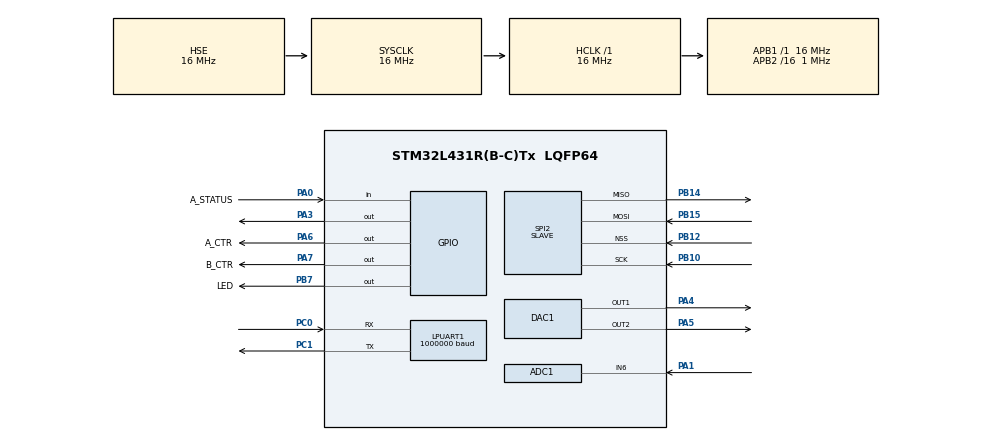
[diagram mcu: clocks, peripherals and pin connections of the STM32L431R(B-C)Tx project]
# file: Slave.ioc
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ADC1.Channel-3\#ChannelRegularConversion=ADC_CHANNEL_6
ADC1.NbrOfConversionFlag=1
ADC1.OffsetNumber-3\#ChannelRegularConversion=ADC_OFFSET_NONE
ADC1.Rank-3\#ChannelRegularConversion=1
ADC1.Resolution=ADC_RESOLUTION_12B
ADC1.SamplingTime-3\#ChannelRegularConversion=ADC_SAMPLETIME_2CYCLES_5
ADC1.master=1
DAC1.DAC_Channel-DAC_OUT2=DAC_CHANNEL_2
LPUART1.BaudRate=1000000
LPUART1.WordLength=UART_WORDLENGTH_8B
Mcu.Family=STM32L4
Mcu.Name=STM32L431R(B-C)Tx
Mcu.Package=LQFP64
NVIC.PriorityGroup=NVIC_PRIORITYGROUP_4
NVIC.TIM1_UP_TIM16_IRQn=true\:0\:0\:false\:false\:true\:true\:true
PA0.GPIO_Label=A_STATUS
PA0.Signal=GPIO_Input
PA1.Signal=ADCx_IN6
PA13\ (JTMS-SWDIO).Mode=Serial_Wire
PA13\ (JTMS-SWDIO).Signal=SYS_JTMS-SWDIO
PA14\ (JTCK-SWCLK).Mode=Serial_Wire
PA14\ (JTCK-SWCLK).Signal=SYS_JTCK-SWCLK
PA3.Signal=GPIO_Output
PA4.Signal=COMP_DAC11_group
PA5.Signal=COMP_DAC12_group
PA6.GPIO_Label=A_CTR
PA6.Signal=GPIO_Output
PA7.GPIO_Label=B_CTR
PA7.Signal=GPIO_Output
PB10.Mode=Full_Duplex_Slave
PB10.Signal=SPI2_SCK
PB12.Mode=NSS_Signal_Hard_Input
PB12.Signal=SPI2_NSS
PB14.Mode=Full_Duplex_Slave
PB14.Signal=SPI2_MISO
PB15.Mode=Full_Duplex_Slave
PB15.Signal=SPI2_MOSI
PB7.GPIO_Label=LED
PB7.Signal=GPIO_Output
PC0.Mode=Asynchronous
PC0.Signal=LPUART1_RX
PC1.Mode=Asynchronous
PC1.Signal=LPUART1_TX
PC14-OSC32_IN\ (PC14).Mode=LSE-External-Oscillator
PC14-OSC32_IN\ (PC14).Signal=RCC_OSC32_IN
PC15-OSC32_OUT\ (PC15).Mode=LSE-External-Oscillator
PC15-OSC32_OUT\ (PC15).Signal=RCC_OSC32_OUT
PH0-OSC_IN\ (PH0).Mode=HSE-External-Oscillator
PH0-OSC_IN\ (PH0).Signal=RCC_OSC_IN
PH1-OSC_OUT\ (PH1).Mode=HSE-External-Oscillator
PH1-OSC_OUT\ (PH1).Signal=RCC_OSC_OUT
ProjectManager.HeapSize=0x200
ProjectManager.StackSize=0x400
ProjectManager.TargetToolchain=STM32CubeIDE
RCC.ADCCLockSelection=RCC_ADCCLKSOURCE_SYSCLK
RCC.ADCFreq_Value=16000000
RCC.AHBFreq_Value=16000000
RCC.APB1Freq_Value=16000000
RCC.APB1TimFreq_Value=16000000
RCC.APB2CLKDivider=RCC_HCLK_DIV16
RCC.APB2Freq_Value=1000000
RCC.APB2TimFreq_Value=2000000
RCC.CortexFreq_Value=16000000
RCC.FLatency-AdvancedSettings=FLASH_LATENCY_0
RCC.HCLKFreq_Value=16000000
RCC.HSE_VALUE=16000000
RCC.HSI48_VALUE=48000000
RCC.HSI_VALUE=16000000
RCC.LPUART1CLockSelection=RCC_LPUART1CLKSOURCE_SYSCLK
RCC.MSIAutoCalibration-AdvancedSettings=ENABLED
RCC.MSI_VALUE=4000000
RCC.PLLSourceVirtual=RCC_PLLSOURCE_HSE
RCC.SYSCLKFreq_VALUE=16000000
RCC.SYSCLKSource=RCC_SYSCLKSOURCE_HSE
RCC.VCOOutputFreq_Value=128000000
SH.ADCx_IN6.0=ADC1_IN6,IN6-Single-Ended
SH.COMP_DAC11_group.0=DAC1_OUT1,DAC_OUT1
SH.COMP_DAC12_group.0=DAC1_OUT2,DAC_OUT2
SPI2.CLKPhase=SPI_PHASE_2EDGE
SPI2.DataSize=SPI_DATASIZE_8BIT
SPI2.Direction=SPI_DIRECTION_2LINES
SPI2.FirstBit=SPI_FIRSTBIT_LSB
SPI2.Mode=SPI_MODE_SLAVE
SPI2.VirtualNSS=VM_NSSHARD
SPI2.VirtualType=VM_SLAVE
TIM16.Period=5000-1
TIM16.Prescaler=250-1
VP_TIM16_VS_ClockSourceINT.Mode=Enable_Timer
board=custom

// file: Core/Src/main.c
/* USER CODE BEGIN Header */
/**
  ******************************************************************************
  * @file           : main.c
  * @brief          : Slave SPI tester
  ******************************************************************************
  * @attention
  *
  * <h2><center>&copy; Copyright (c) 2022 STMicroelectronics.
  * All rights reserved.</center></h2>
  *
  * This software component is licensed by ST under BSD 3-Clause license,
  * the "License"; You may not use this file except in compliance with the
  * License. You may obtain a copy of the License at:
  *                        opensource.org/licenses/BSD-3-Clause
  *
  ******************************************************************************
  */
/* USER CODE END Header */
#include "main.h"

/* USER CODE BEGIN Includes */
#include <stdio.h>
#include <string.h>
/* USER CODE END Includes */

/* USER CODE BEGIN PD */
#define BUFFERSIZE 256
/* USER CODE END PD */

ADC_HandleTypeDef hadc1;

DAC_HandleTypeDef hdac1;

UART_HandleTypeDef hlpuart1;

SPI_HandleTypeDef hspi2;

TIM_HandleTypeDef htim16;

/* USER CODE BEGIN PV */
uint8_t aTxBuffer[BUFFERSIZE] = {1,2,3,4,5,6,7,8,9,10,1,2,3,4,5,6,7,8,9,10,1,2,3,4,5,6,7,8,9,10,1,2,3,4,5,6,7,8,9,10,11,12,13,14,15,16,17,18,19,20,21,22,23,24,25,26,27,28,29,30,31,32,33,34,35,36,37,38,39,40,41,42,43,44,45,46,47,48,49,50,51,52,53,54,55,56,57,58,59,60,61,62,63,64};
uint8_t aRxBuffer[BUFFERSIZE];
char sTxBuffer[BUFFERSIZE] = "123456791011121314151617181920";

/* USER CODE END PV */

void SystemClock_Config(void);
static void MX_GPIO_Init(void);
static void MX_ADC1_Init(void);
static void MX_DAC1_Init(void);
static void MX_TIM16_Init(void);
static void MX_LPUART1_UART_Init(void);
static void MX_SPI2_Init(void);

int main(void)
{

  /* MCU Configuration--------------------------------------------------------*/

  /* Reset of all peripherals, Initializes the Flash interface and the Systick. */
  HAL_Init();

  /* Configure the system clock */
  SystemClock_Config();

  /* Initialize all configured peripherals */
  MX_GPIO_Init();
  MX_ADC1_Init();
  MX_DAC1_Init();
  MX_TIM16_Init();
  MX_LPUART1_UART_Init();
  MX_SPI2_Init();
  /* USER CODE BEGIN 2 */
  HAL_GPIO_WritePin(GPIOB,GPIO_PIN_7,1);
  HAL_Delay(500);
  HAL_GPIO_WritePin(GPIOB,GPIO_PIN_7,0);
  HAL_Delay(500);
  HAL_GPIO_WritePin(GPIOB,GPIO_PIN_7,1);
  HAL_Delay(500);
  HAL_GPIO_WritePin(GPIOB,GPIO_PIN_7,0);
  HAL_Delay(500);

  int input = 41;
  int output= 40;
  char msg[50] = "__\r\n";

  HAL_UART_Transmit(&hlpuart1, (uint8_t*)msg, strlen(msg), HAL_MAX_DELAY);
  HAL_UART_Transmit(&hlpuart1, (uint8_t*)&output, sizeof(output), HAL_MAX_DELAY);
  HAL_UART_Transmit(&hlpuart1, (uint8_t*)msg, strlen(msg), HAL_MAX_DELAY);
  HAL_UART_Transmit(&hlpuart1, (uint8_t*)&input, sizeof(input), HAL_MAX_DELAY);
  HAL_UART_Transmit(&hlpuart1, (uint8_t*)msg, strlen(msg), HAL_MAX_DELAY);

  HAL_GPIO_WritePin(GPIOB,GPIO_PIN_7,1);
  HAL_Delay(500);
  HAL_GPIO_WritePin(GPIOB,GPIO_PIN_7,0);
  HAL_Delay(500);
  HAL_GPIO_WritePin(GPIOB,GPIO_PIN_7,1);
//  for (;;)
//  {
//	  HAL_SPI_TransmitReceive(&hspi2, (uint8_t *)&output, (uint8_t*)&input, sizeof(input), 3000 );
//	  output = input;
//	  HAL_UART_Transmit(&hlpuart1, (uint8_t*)&output, sizeof(output), HAL_MAX_DELAY);
//	  HAL_UART_Transmit(&hlpuart1, (uint8_t*)msg, strlen(msg), HAL_MAX_DELAY);
//	  HAL_UART_Transmit(&hlpuart1, (uint8_t*)&input, sizeof(input), HAL_MAX_DELAY);
//	  HAL_UART_Transmit(&hlpuart1, (uint8_t*)msg, strlen(msg), HAL_MAX_DELAY);
//	  HAL_GPIO_TogglePin(GPIOB,GPIO_PIN_7);
//
//  }
  /* USER CODE END 2 */

  /* Infinite loop */
  while (1)
  {
	  HAL_SPI_TransmitReceive(&hspi2, (uint8_t *)sTxBuffer, (uint8_t *)aRxBuffer , BUFFERSIZE, 5000);
	  HAL_UART_Transmit(&hlpuart1, (uint8_t*)&sTxBuffer, BUFFERSIZE, 1000);
	  HAL_GPIO_TogglePin(GPIOB,GPIO_PIN_7);
	  HAL_UART_Transmit(&hlpuart1, (uint8_t*)msg, strlen(msg), HAL_MAX_DELAY);
  }
}

void SystemClock_Config(void)
{
  RCC_OscInitTypeDef RCC_OscInitStruct = {0};
  RCC_ClkInitTypeDef RCC_ClkInitStruct = {0};

  /** Configure the main internal regulator output voltage
  */
  if (HAL_PWREx_ControlVoltageScaling(PWR_REGULATOR_VOLTAGE_SCALE1) != HAL_OK)
  {
    Error_Handler();
  }
  /** Initializes the RCC Oscillators according to the specified parameters
  * in the RCC_OscInitTypeDef structure.
  */
  RCC_OscInitStruct.OscillatorType = RCC_OSCILLATORTYPE_HSE;
  RCC_OscInitStruct.HSEState = RCC_HSE_ON;
  RCC_OscInitStruct.PLL.PLLState = RCC_PLL_NONE;
  if (HAL_RCC_OscConfig(&RCC_OscInitStruct) != HAL_OK)
  {
    Error_Handler();
  }
  /** Initializes the CPU, AHB and APB buses clocks
  */
  RCC_ClkInitStruct.ClockType = RCC_CLOCKTYPE_HCLK|RCC_CLOCKTYPE_SYSCLK
                              |RCC_CLOCKTYPE_PCLK1|RCC_CLOCKTYPE_PCLK2;
  RCC_ClkInitStruct.SYSCLKSource = RCC_SYSCLKSOURCE_HSE;
  RCC_ClkInitStruct.AHBCLKDivider = RCC_SYSCLK_DIV1;
  RCC_ClkInitStruct.APB1CLKDivider = RCC_HCLK_DIV1;
  RCC_ClkInitStruct.APB2CLKDivider = RCC_HCLK_DIV16;

  if (HAL_RCC_ClockConfig(&RCC_ClkInitStruct, FLASH_LATENCY_0) != HAL_OK)
  {
    Error_Handler();
  }
}

static void MX_ADC1_Init(void)
{

  ADC_ChannelConfTypeDef sConfig = {0};

  /** Common config
  */
  hadc1.Instance = ADC1;
  hadc1.Init.ClockPrescaler = ADC_CLOCK_ASYNC_DIV1;
  hadc1.Init.Resolution = ADC_RESOLUTION_12B;
  hadc1.Init.DataAlign = ADC_DATAALIGN_RIGHT;
  hadc1.Init.ScanConvMode = ADC_SCAN_DISABLE;
  hadc1.Init.EOCSelection = ADC_EOC_SINGLE_CONV;
  hadc1.Init.LowPowerAutoWait = DISABLE;
  hadc1.Init.ContinuousConvMode = DISABLE;
  hadc1.Init.NbrOfConversion = 1;
  hadc1.Init.DiscontinuousConvMode = DISABLE;
  hadc1.Init.ExternalTrigConv = ADC_SOFTWARE_START;
  hadc1.Init.ExternalTrigConvEdge = ADC_EXTERNALTRIGCONVEDGE_NONE;
  hadc1.Init.DMAContinuousRequests = DISABLE;
  hadc1.Init.Overrun = ADC_OVR_DATA_PRESERVED;
  hadc1.Init.OversamplingMode = DISABLE;
  if (HAL_ADC_Init(&hadc1) != HAL_OK)
  {
    Error_Handler();
  }
  /** Configure Regular Channel
  */
  sConfig.Channel = ADC_CHANNEL_6;
  sConfig.Rank = ADC_REGULAR_RANK_1;
  sConfig.SamplingTime = ADC_SAMPLETIME_2CYCLES_5;
  sConfig.SingleDiff = ADC_SINGLE_ENDED;
  sConfig.OffsetNumber = ADC_OFFSET_NONE;
  sConfig.Offset = 0;
  if (HAL_ADC_ConfigChannel(&hadc1, &sConfig) != HAL_OK)
  {
    Error_Handler();
  }

}

static void MX_DAC1_Init(void)
{

  DAC_ChannelConfTypeDef sConfig = {0};

  /** DAC Initialization
  */
  hdac1.Instance = DAC1;
  if (HAL_DAC_Init(&hdac1) != HAL_OK)
  {
    Error_Handler();
  }
  /** DAC channel OUT1 config
  */
  sConfig.DAC_SampleAndHold = DAC_SAMPLEANDHOLD_DISABLE;
  sConfig.DAC_Trigger = DAC_TRIGGER_NONE;
  sConfig.DAC_OutputBuffer = DAC_OUTPUTBUFFER_ENABLE;
  sConfig.DAC_ConnectOnChipPeripheral = DAC_CHIPCONNECT_DISABLE;
  sConfig.DAC_UserTrimming = DAC_TRIMMING_FACTORY;
  if (HAL_DAC_ConfigChannel(&hdac1, &sConfig, DAC_CHANNEL_1) != HAL_OK)
  {
    Error_Handler();
  }
  /** DAC channel OUT2 config
  */
  if (HAL_DAC_ConfigChannel(&hdac1, &sConfig, DAC_CHANNEL_2) != HAL_OK)
  {
    Error_Handler();
  }

}

static void MX_LPUART1_UART_Init(void)
{

  hlpuart1.Instance = LPUART1;
  hlpuart1.Init.BaudRate = 1000000;
  hlpuart1.Init.WordLength = UART_WORDLENGTH_8B;
  hlpuart1.Init.StopBits = UART_STOPBITS_1;
  hlpuart1.Init.Parity = UART_PARITY_NONE;
  hlpuart1.Init.Mode = UART_MODE_TX_RX;
  hlpuart1.Init.HwFlowCtl = UART_HWCONTROL_NONE;
  hlpuart1.Init.OneBitSampling = UART_ONE_BIT_SAMPLE_DISABLE;
  hlpuart1.AdvancedInit.AdvFeatureInit = UART_ADVFEATURE_NO_INIT;
  if (HAL_UART_Init(&hlpuart1) != HAL_OK)
  {
    Error_Handler();
  }

}

static void MX_SPI2_Init(void)
{

  /* SPI2 parameter configuration*/
  hspi2.Instance = SPI2;
  hspi2.Init.Mode = SPI_MODE_SLAVE;
  hspi2.Init.Direction = SPI_DIRECTION_2LINES;
  hspi2.Init.DataSize = SPI_DATASIZE_8BIT;
  hspi2.Init.CLKPolarity = SPI_POLARITY_LOW;
  hspi2.Init.CLKPhase = SPI_PHASE_2EDGE;
  hspi2.Init.NSS = SPI_NSS_HARD_INPUT;
  hspi2.Init.FirstBit = SPI_FIRSTBIT_LSB;
  hspi2.Init.TIMode = SPI_TIMODE_DISABLE;
  hspi2.Init.CRCCalculation = SPI_CRCCALCULATION_DISABLE;
  hspi2.Init.CRCPolynomial = 7;
  hspi2.Init.CRCLength = SPI_CRC_LENGTH_DATASIZE;
  hspi2.Init.NSSPMode = SPI_NSS_PULSE_DISABLE;
  if (HAL_SPI_Init(&hspi2) != HAL_OK)
  {
    Error_Handler();
  }

}

static void MX_TIM16_Init(void)
{

  htim16.Instance = TIM16;
  htim16.Init.Prescaler = 250-1;
  htim16.Init.CounterMode = TIM_COUNTERMODE_UP;
  htim16.Init.Period = 5000-1;
  htim16.Init.ClockDivision = TIM_CLOCKDIVISION_DIV1;
  htim16.Init.RepetitionCounter = 0;
  htim16.Init.AutoReloadPreload = TIM_AUTORELOAD_PRELOAD_DISABLE;
  if (HAL_TIM_Base_Init(&htim16) != HAL_OK)
  {
    Error_Handler();
  }

}

static void MX_GPIO_Init(void)
{
  GPIO_InitTypeDef GPIO_InitStruct = {0};

  /* GPIO Ports Clock Enable */
  __HAL_RCC_GPIOC_CLK_ENABLE();
  __HAL_RCC_GPIOH_CLK_ENABLE();
  __HAL_RCC_GPIOA_CLK_ENABLE();
  __HAL_RCC_GPIOB_CLK_ENABLE();

  /*Configure GPIO pin Output Level */
  HAL_GPIO_WritePin(GPIOA, GPIO_PIN_3|A_CTR_Pin|B_CTR_Pin, GPIO_PIN_RESET);

  /*Configure GPIO pin Output Level */
  HAL_GPIO_WritePin(LED_GPIO_Port, LED_Pin, GPIO_PIN_RESET);

  /*Configure GPIO pin : A_STATUS_Pin */
  GPIO_InitStruct.Pin = A_STATUS_Pin;
  GPIO_InitStruct.Mode = GPIO_MODE_INPUT;
  GPIO_InitStruct.Pull = GPIO_NOPULL;
  HAL_GPIO_Init(A_STATUS_GPIO_Port, &GPIO_InitStruct);

  /*Configure GPIO pins : PA3 A_CTR_Pin B_CTR_Pin */
  GPIO_InitStruct.Pin = GPIO_PIN_3|A_CTR_Pin|B_CTR_Pin;
  GPIO_InitStruct.Mode = GPIO_MODE_OUTPUT_PP;
  GPIO_InitStruct.Pull = GPIO_NOPULL;
  GPIO_InitStruct.Speed = GPIO_SPEED_FREQ_LOW;
  HAL_GPIO_Init(GPIOA, &GPIO_InitStruct);

  /*Configure GPIO pin : LED_Pin */
  GPIO_InitStruct.Pin = LED_Pin;
  GPIO_InitStruct.Mode = GPIO_MODE_OUTPUT_PP;
  GPIO_InitStruct.Pull = GPIO_NOPULL;
  GPIO_InitStruct.Speed = GPIO_SPEED_FREQ_LOW;
  HAL_GPIO_Init(LED_GPIO_Port, &GPIO_InitStruct);

}

void Error_Handler(void)
{
  __disable_irq();
  while (1)
  {
  }
}

/************************ (C) COPYRIGHT STMicroelectronics *****END OF FILE****/
